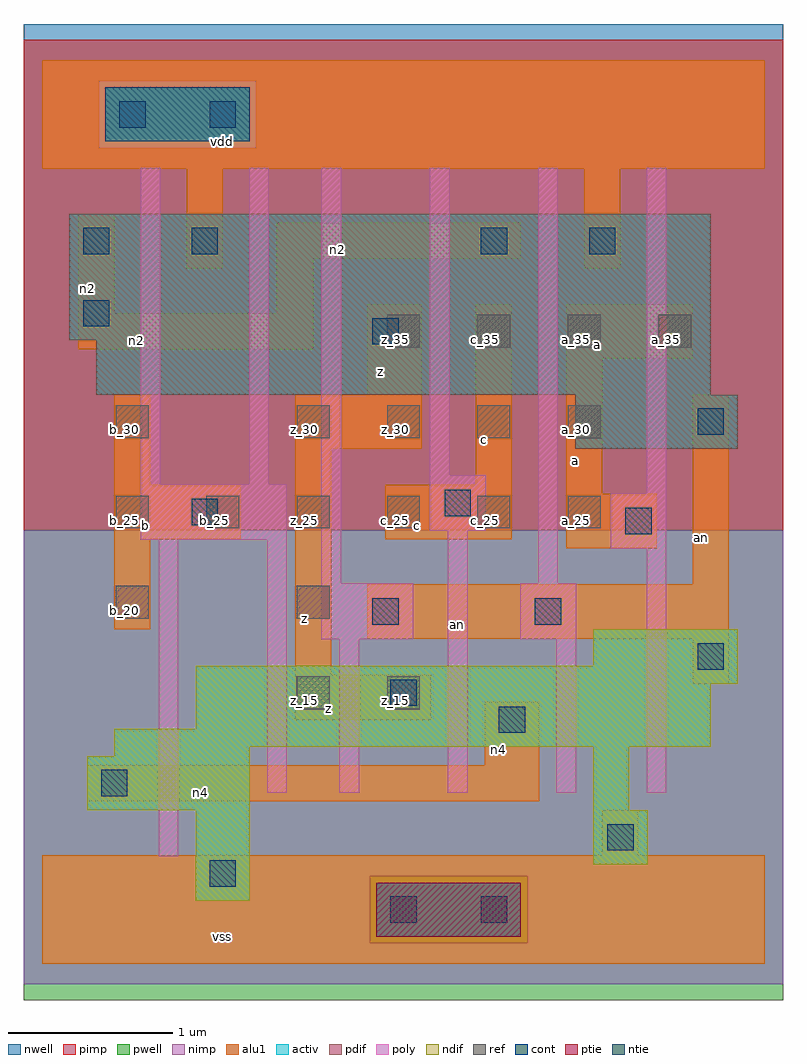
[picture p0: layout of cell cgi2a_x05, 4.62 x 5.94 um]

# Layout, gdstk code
import gdstk
lib = gdstk.Library(unit=1e-6, precision=2.5e-09)
def R(c, l, rs):  # rectangles x0, y0, x1, y1
    for r in rs: c.add(gdstk.rectangle(r[:2], r[2:], *l))
def A(c, l, x, y, w, h, nx, ny, dx, dy):  # array of equal rectangles
    R(c, l, [(x+i*dx, y+j*dy, x+i*dx+w, y+j*dy+h) for i in range(nx) for j in range(ny)])
ndif = (3, 0)
pdif = (4, 0)
ntie = (5, 0)
ptie = (6, 0)
ref = (24, 0)
cont = (25, 0)
pwell = (41, 0)
nwell = (42, 0)
activ = (43, 0)
pimp = (44, 0)
nimp = (45, 0)
poly = (46, 0)
alu1 = (49, 0)

cgi2a_x05 = lib.new_cell('cgi2a_x05')
R(cgi2a_x05, ndif, [(0.935,0.385,1.265,0.935), (3.355,0.605,3.685,0.935), (0.275,0.935,1.265,1.265), (3.355,0.935,3.575,1.32), (0.44,1.265,1.265,1.32), (0.44,1.32,4.07,1.43), (0.935,1.43,4.07,1.705), (0.935,1.705,4.235,1.815), (3.355,1.815,4.235,2.035)])
R(cgi2a_x05, pdif, [(3.245,3.135,4.235,3.465), (0.33,3.465,4.07,3.795), (0.165,3.795,4.07,4.565)])
R(cgi2a_x05, ntie, [(0.385,5.005,1.265,5.335)])
R(cgi2a_x05, ptie, [(2.035,0.165,2.915,0.495)])
A(cgi2a_x05, ref, 0.45, 2.65, 0.2, 0.2, 6, 1, 0.55, 0)
A(cgi2a_x05, ref, 1.55, 3.2, 0.2, 0.2, 4, 1, 0.55, 0)
A(cgi2a_x05, ref, 2.1, 3.75, 0.2, 0.2, 4, 1, 0.55, 0)
R(cgi2a_x05, ref, [(1.55,1.55,1.75,1.75), (2.1,1.55,2.3,1.75), (0.45,2.1,0.65,2.3), (1.55,2.1,1.75,2.3), (0.45,3.2,0.65,3.4)])
R(cgi2a_x05, cont, [(2.12,0.25,2.28,0.41), (2.67,0.25,2.83,0.41), (1.02,0.47,1.18,0.63), (3.44,0.69,3.6,0.85), (0.36,1.02,0.52,1.18), (2.78,1.405,2.94,1.565), (2.12,1.57,2.28,1.73), (3.99,1.79,4.15,1.95), (2.01,2.065,2.17,2.225), (3,2.065,3.16,2.225), (3.55,2.615,3.71,2.775), (0.91,2.67,1.07,2.83), (2.45,2.725,2.61,2.885), (3.99,3.22,4.15,3.38), (2.01,3.77,2.17,3.93), (0.25,3.88,0.41,4.04), (0.25,4.32,0.41,4.48), (0.91,4.32,1.07,4.48), (2.67,4.32,2.83,4.48), (3.33,4.32,3.49,4.48), (0.47,5.09,0.63,5.25), (1.02,5.09,1.18,5.25)])
R(cgi2a_x05, pwell, [(-0.11,-0.22,4.51,2.64)])
R(cgi2a_x05, nwell, [(-0.11,2.64,4.51,5.72)])
R(cgi2a_x05, activ, [(2.035,0.165,2.915,0.495), (0.935,0.385,1.265,0.935), (3.355,0.605,3.685,0.935), (0.275,0.935,1.265,1.265), (3.355,0.935,3.575,1.32), (0.44,1.265,1.265,1.32), (0.44,1.32,4.07,1.43), (0.935,1.43,4.07,1.705), (0.935,1.705,4.235,1.815), (3.355,1.815,4.235,2.035), (3.245,3.135,4.235,3.465), (0.33,3.465,4.07,3.795), (0.165,3.795,4.07,4.565), (0.385,5.005,1.265,5.335)])
R(cgi2a_x05, pimp, [(1.995,0.125,2.955,0.535), (-0.11,2.64,4.51,4.965), (-0.11,4.965,0.345,5.375), (1.305,4.965,4.51,5.375), (-0.11,5.375,4.51,5.625)])
R(cgi2a_x05, nimp, [(-0.11,-0.125,4.51,0.125), (-0.11,0.125,1.995,0.535), (2.955,0.125,4.51,0.535), (-0.11,0.535,4.51,2.64), (0.345,4.965,1.305,5.375)])
R(cgi2a_x05, poly, [(0.71,0.655,0.83,2.58), (1.37,1.04,1.49,2.58), (1.81,1.04,1.93,1.975), (2.47,1.04,2.59,2.635), (3.13,1.04,3.25,1.975), (3.68,1.04,3.8,2.525), (1.7,1.975,2.26,2.315), (2.91,1.975,3.25,2.315), (1.7,2.315,1.82,4.845), (3.02,2.315,3.14,4.845), (3.46,2.525,3.8,2.865), (0.6,2.58,1.49,2.92), (2.36,2.635,2.7,2.975), (3.68,2.865,3.8,4.845), (0.6,2.92,0.72,4.845), (1.26,2.92,1.38,4.845), (2.36,2.975,2.48,4.845)])
R(cgi2a_x05, alu1, [(0,0,4.4,0.66), (3.41,0.66,3.63,0.935), (0.275,0.99,3.025,1.21), (2.695,1.21,3.025,1.595), (1.54,1.485,2.365,1.76), (3.96,1.705,4.18,1.98), (1.54,1.76,1.76,3.135), (1.98,1.98,4.18,2.31), (0.44,2.035,0.66,2.585), (3.96,2.31,4.18,3.465), (3.19,2.53,3.74,2.86), (0.44,2.585,1.21,2.915), (2.09,2.585,2.86,2.915), (3.19,2.86,3.41,3.685), (0.44,2.915,0.66,3.465), (2.64,2.915,2.86,4.015), (1.54,3.135,2.31,3.465), (1.98,3.465,2.31,4.015), (3.19,3.685,3.96,4.015), (0.22,3.74,1.65,3.96), (0.22,3.96,0.44,4.565), (1.43,3.96,1.65,4.29), (0.88,4.235,1.1,4.84), (3.3,4.235,3.52,4.84), (1.43,4.29,2.915,4.51), (0,4.84,4.4,5.5)])
cgi2a_x05.add(gdstk.Label('vss', (1.1,0.165), layer=49, texttype=0))
cgi2a_x05.add(gdstk.Label('n4', (0.9625,1.045), layer=49, texttype=0))
cgi2a_x05.add(gdstk.Label('n4', (2.7775,1.305), layer=49, texttype=0))
cgi2a_x05.add(gdstk.Label('z', (1.745,1.5525), layer=49, texttype=0))
cgi2a_x05.add(gdstk.Label('an', (2.53,2.0625), layer=49, texttype=0))
cgi2a_x05.add(gdstk.Label('an', (4.015,2.5975), layer=49, texttype=0))
cgi2a_x05.add(gdstk.Label('a', (3.245,3.065), layer=49, texttype=0))
cgi2a_x05.add(gdstk.Label('a', (3.3825,3.7675), layer=49, texttype=0))
cgi2a_x05.add(gdstk.Label('c', (2.2825,2.6675), layer=49, texttype=0))
cgi2a_x05.add(gdstk.Label('c', (2.695,3.19), layer=49, texttype=0))
cgi2a_x05.add(gdstk.Label('z', (1.595,2.1025), layer=49, texttype=0))
cgi2a_x05.add(gdstk.Label('b', (0.6325,2.6675), layer=49, texttype=0))
cgi2a_x05.add(gdstk.Label('z', (2.0625,3.6025), layer=49, texttype=0))
cgi2a_x05.add(gdstk.Label('n2', (0.5775,3.795), layer=49, texttype=0))
cgi2a_x05.add(gdstk.Label('n2', (1.8,4.345), layer=49, texttype=0))
cgi2a_x05.add(gdstk.Label('n2', (0.275,4.11), layer=49, texttype=0))
cgi2a_x05.add(gdstk.Label('vdd', (1.1,5.005), layer=49, texttype=0))
cgi2a_x05.add(gdstk.Label('z_15', (2.15,1.6), layer=24, texttype=0))
cgi2a_x05.add(gdstk.Label('c_25', (2.7,2.7), layer=24, texttype=0))
cgi2a_x05.add(gdstk.Label('b_30', (0.5,3.25), layer=24, texttype=0))
cgi2a_x05.add(gdstk.Label('b_25', (0.5,2.7), layer=24, texttype=0))
cgi2a_x05.add(gdstk.Label('b_25', (1.05,2.7), layer=24, texttype=0))
cgi2a_x05.add(gdstk.Label('b_20', (0.5,2.15), layer=24, texttype=0))
cgi2a_x05.add(gdstk.Label('z_30', (2.15,3.25), layer=24, texttype=0))
cgi2a_x05.add(gdstk.Label('z_30', (1.6,3.25), layer=24, texttype=0))
cgi2a_x05.add(gdstk.Label('z_25', (1.6,2.7), layer=24, texttype=0))
cgi2a_x05.add(gdstk.Label('z_20', (1.6,2.15), layer=24, texttype=0))
cgi2a_x05.add(gdstk.Label('z_35', (2.15,3.8), layer=24, texttype=0))
cgi2a_x05.add(gdstk.Label('z_15', (1.6,1.6), layer=24, texttype=0))
cgi2a_x05.add(gdstk.Label('c_30', (2.7,3.25), layer=24, texttype=0))
cgi2a_x05.add(gdstk.Label('c_25', (2.15,2.7), layer=24, texttype=0))
cgi2a_x05.add(gdstk.Label('c_35', (2.7,3.8), layer=24, texttype=0))
cgi2a_x05.add(gdstk.Label('a_25', (3.25,2.7), layer=24, texttype=0))
cgi2a_x05.add(gdstk.Label('a_30', (3.25,3.25), layer=24, texttype=0))
cgi2a_x05.add(gdstk.Label('a_35', (3.25,3.8), layer=24, texttype=0))
cgi2a_x05.add(gdstk.Label('a_35', (3.8,3.8), layer=24, texttype=0))

lib.write_gds('cgi2a_x05.gds')
